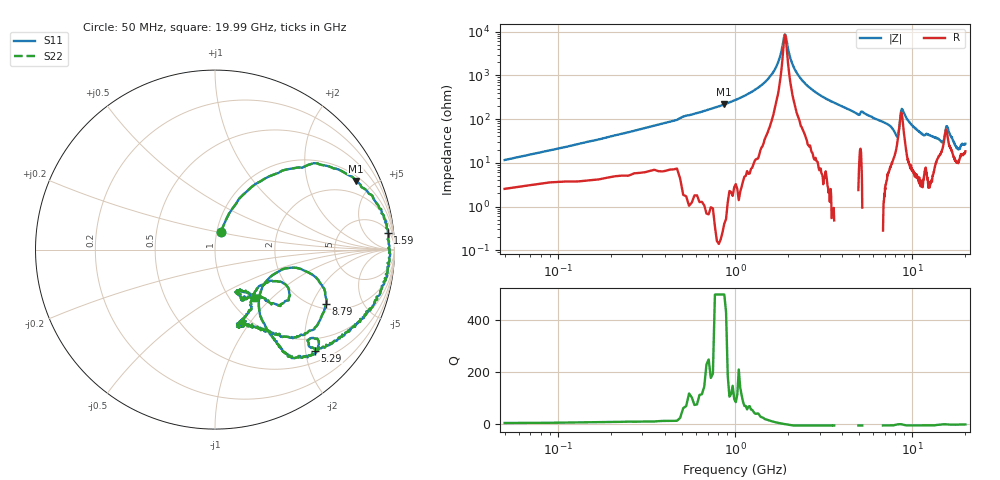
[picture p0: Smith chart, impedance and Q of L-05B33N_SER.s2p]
! Data Taken on a HP 8720C VNA using a series-through fixture with TRL* de-embedding
#	mhz	s	ma	r	50
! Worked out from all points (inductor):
!   998 points, 50 MHz to 19.99 GHz, reference 50 ohm
!   read as one part in series: L = 31.6 nH near 130 MHz
!   highest Q = 221 at 870 MHz (marker M1), where L = 39.5 nH
!   self-resonance near 1.91 GHz
!   S11 on the Smith chart (normalised r, x): 50 MHz: 1.05, +0.21; 1.59 GHz: 7, +19; 5.29 GHz: 0.73, -2.20; 8.79 GHz: 2.20, -2.56; 19.99 GHz: 1.29, -0.79
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50  0.1035 71.9  0.9658 -6.8  0.9658 -6.8  0.1035 71.9
330  0.5319 51.9  0.8022 -32.2  0.8022 -32.2  0.5319 51.9
870  0.8722 26.0  0.4018 -64.5  0.4018 -64.5  0.8722 26.0
1590  0.9668 5.5  0.099 -80.0  0.099 -80.0  0.9668 5.5
1930  0.9764 -1.4  0.01168 18.0  0.01168 18.0  0.9764 -1.4
2130  0.9712 -5.8  0.05892 73.9  0.05892 73.9  0.9712 -5.8
2370  0.9618 -9.5  0.1184 75.9  0.1184 75.9  0.9618 -9.5
3390  0.9052 -24.6  0.3287 65.4  0.3287 65.4  0.9052 -24.6
5290  0.7926 -45.2  0.5186 48.7  0.5186 48.7  0.7926 -45.2
6710  0.681 -56.1  0.6931 36.2  0.6931 36.2  0.681 -56.1
8190  0.3598 -46.6  0.7807 10.5  0.7807 10.5  0.3598 -46.6
8510  0.4674 -12.6  0.5606 -4.3  0.5606 -4.3  0.4674 -12.6
8790  0.6898 -26.2  0.3931 23.1  0.3931 23.1  0.6898 -26.2
9230  0.6877 -43.6  0.5848 37.6  0.5848 37.6  0.6877 -43.6
10030  0.5711 -55.0  0.7582 30.8  0.7582 30.8  0.5711 -55.0
11470  0.4388 -70.5  0.8458 19.2  0.8458 19.2  0.4388 -70.5
13350  0.4148 -68.2  0.8537 12.3  0.8537 12.3  0.4148 -68.2
15270  0.3673 -28.7  0.7441 -1.9  0.7441 -1.9  0.3673 -28.7
15690  0.4908 -32.9  0.6452 9.2  0.6452 9.2  0.4908 -32.9
16670  0.3665 -45.8  0.8326 12.2  0.8326 12.2  0.3665 -45.8
17850  0.2599 -61.0  0.8998 5.2  0.8998 5.2  0.2599 -61.0
19990  0.3484 -50.7  0.8727 1.3  0.8727 1.3  0.3484 -50.7
